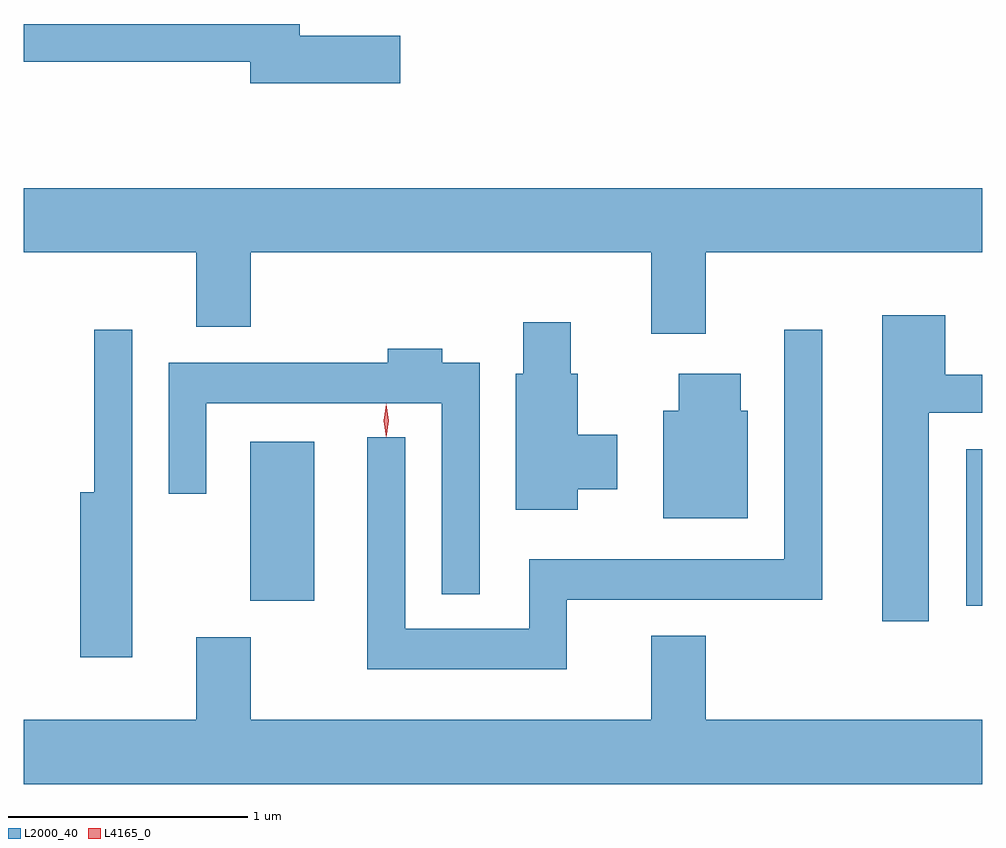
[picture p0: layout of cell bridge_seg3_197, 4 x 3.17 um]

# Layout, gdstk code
import gdstk
lib = gdstk.Library(unit=1e-6, precision=1e-09)
def R(c, l, rs):  # rectangles x0, y0, x1, y1
    for r in rs: c.add(gdstk.rectangle(r[:2], r[2:], *l))
def P(c, l, *ps):  # polygons
    for p in ps: c.add(gdstk.Polygon(p, *l))
L2000_40 = (2000, 40)
L4165_0 = (4165, 0)

bridge_seg3_197 = lib.new_cell('bridge_seg3_197')
R(bridge_seg3_197, L2000_40, [(1053.716,1151.181,1053.782,1151.834), (1050.726,1151.201,1050.994,1151.864)])
P(bridge_seg3_197, L2000_40, [(1051.354,1153.559),(1050.934,1153.559),(1050.934,1153.609),(1049.782,1153.609),(1049.782,1153.451),(1050.726,1153.451),(1050.726,1153.361),(1051.354,1153.361)],
  [(1052.629,1152.656),(1053.782,1152.656),(1053.782,1152.924),(1049.782,1152.924),(1049.782,1152.656),(1050.501,1152.656),(1050.501,1152.346),(1050.729,1152.346),(1050.729,1152.656),(1052.401,1152.656),(1052.401,1152.316),(1052.629,1152.316)],
  [(1053.559,1151.986),(1053.782,1151.986),(1053.782,1152.144),(1053.629,1152.144),(1053.629,1152.394),(1053.366,1152.394),(1053.366,1151.116),(1053.559,1151.116)],
  [(1052.094,1151.666),(1052.259,1151.666),(1052.259,1151.894),(1052.094,1151.894),(1052.094,1152.149),(1052.064,1152.149),(1052.064,1152.364),(1051.866,1152.364),(1051.866,1152.149),(1051.836,1152.149),(1051.836,1151.581),(1052.094,1151.581)],
  [(1052.049,1151.206),(1053.114,1151.206),(1053.114,1152.333),(1052.956,1152.333),(1052.956,1151.374),(1051.891,1151.374),(1051.891,1151.084),(1051.374,1151.084),(1051.374,1151.883),(1051.216,1151.883),(1051.216,1150.916),(1052.049,1150.916)],
  [(1050.234,1152.333),(1050.076,1152.333),(1050.076,1151.654),(1050.016,1151.654),(1050.016,1150.966),(1050.234,1150.966)],
  [(1051.684,1152.194),(1051.529,1152.194),(1051.529,1152.254),(1051.301,1152.254),(1051.301,1152.194),(1050.386,1152.194),(1050.386,1151.648),(1050.544,1151.648),(1050.544,1152.026),(1051.526,1152.026),(1051.526,1151.228),(1051.684,1151.228)],
  [(1052.804,1151.994),(1052.774,1151.994),(1052.774,1152.149),(1052.516,1152.149),(1052.516,1151.994),(1052.451,1151.994),(1052.451,1151.546),(1052.804,1151.546)],
  [(1053.782,1150.704),(1052.629,1150.704),(1052.629,1151.054),(1052.401,1151.054),(1052.401,1150.704),(1050.729,1150.704),(1050.729,1151.049),(1050.501,1151.049),(1050.501,1150.704),(1049.782,1150.704),(1049.782,1150.436),(1053.782,1150.436)])
P(bridge_seg3_197, L4165_0, [(1051.295,1151.883),(1051.294,1151.884),(1051.285,1151.953),(1051.294,1152.022),(1051.295,1152.023),(1051.295,1152.022),(1051.305,1151.953),(1051.295,1151.884)])

lib.write_gds('bridge_seg3_197.gds')
